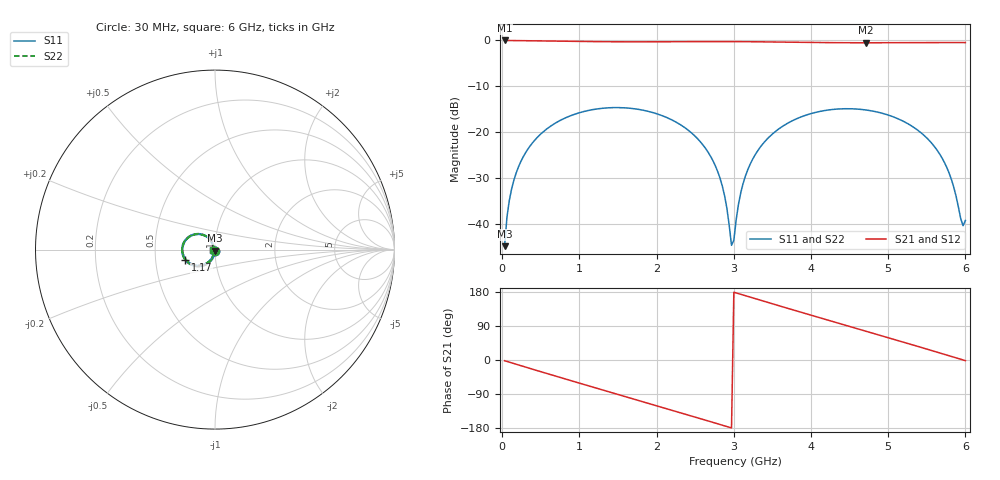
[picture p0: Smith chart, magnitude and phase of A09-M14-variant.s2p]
! yapnr Order 0 O0-M: O0-M A09 M1.4 30 (variant, family M1.4)
! stackup OSHPARK-4L-FR408HR, nominal parameters; geometry of the OSHPARK-4L-FR408HR design
! model: 2D quasi-static RLGC (Djordjevic-Sarkar, Huray roughness, Wheeler loss); generated by python -m yapnr.rf.coupons expected --stackup OSHPARK-4L-FR408HR --upload M
! reference planes 10 mm from each end; 50 ohm (from the M line's Zc)
# GHz S DB R 50
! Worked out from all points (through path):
!   200 points, 30 MHz to 6 GHz, reference 50 ohm
!   highest |S21| = -0.01 dB at 30 MHz (marker M1); lowest = -0.5 dB at 4.71 GHz (marker M2)
!   group delay of S21, straight-line fit = 167 ps
!   lowest |S11| = -44.8 dB at 30 MHz (marker M3), VSWR 1.01, Z = 50.1 - j0.57 ohm
!   |S11| at or under -10 dB: start of sweep to end of sweep
!   |S22| runs from -44.8 to -14.6 dB; largest |S21 - S12| = 0
!   S11 on the Smith chart (normalised r, x): 30 MHz: 1.00, -0.01; 1.17 GHz: 0.71, -0.09; 6 GHz: 0.98, -0.01
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0.03  -44.84 -83.6  -0.01 -1.9  -0.01 -1.9  -44.84 -83.6
0.06  -38.58 -88.5  -0.02 -3.8  -0.02 -3.8  -38.58 -88.5
0.12  -32.42 -94.2  -0.03 -7.5  -0.03 -7.5  -32.42 -94.2
0.3  -24.52 -107.0  -0.06 -18.6  -0.06 -18.6  -24.52 -107.0
0.6  -18.99 -126.0  -0.13 -37.0  -0.13 -37.0  -18.99 -126.0
1.05  -15.52 -153.4  -0.23 -64.1  -0.23 -64.1  -15.52 -153.4
1.17  -15.09 -160.5  -0.26 -71.3  -0.26 -71.3  -15.09 -160.5
1.59  -14.70 174.7  -0.31 -96.2  -0.31 -96.2  -14.70 174.7
2.04  -16.20 148.5  -0.30 -122.9  -0.30 -122.9  -16.20 148.5
2.7  -25.30 112.8  -0.25 -162.8  -0.25 -162.8  -25.30 112.8
2.88  -33.82 111.7  -0.25 -173.8  -0.25 -173.8  -33.82 111.7
2.97  -44.65 159.9  -0.26 -179.3  -0.26 -179.3  -44.65 159.9
3.03  -39.12 -122.6  -0.26 177.0  -0.26 177.0  -39.12 -122.6
3.15  -29.56 -109.7  -0.28 169.7  -0.28 169.7  -29.56 -109.7
3.33  -23.54 -115.8  -0.30 158.7  -0.30 158.7  -23.54 -115.8
4.02  -15.85 -153.7  -0.45 117.1  -0.45 117.1  -15.85 -153.7
4.71  -15.15 167.0  -0.52 76.2  -0.52 76.2  -15.15 167.0
5.01  -16.32 150.2  -0.51 58.3  -0.51 58.3  -16.32 150.2
5.61  -23.38 119.5  -0.46 22.1  -0.46 22.1  -23.38 119.5
5.82  -30.36 117.3  -0.46 9.3  -0.46 9.3  -30.36 117.3
5.97  -40.37 177.4  -0.47 0.2  -0.47 0.2  -40.37 177.4
6  -39.23 -153.1  -0.47 -1.7  -0.47 -1.7  -39.23 -153.1
